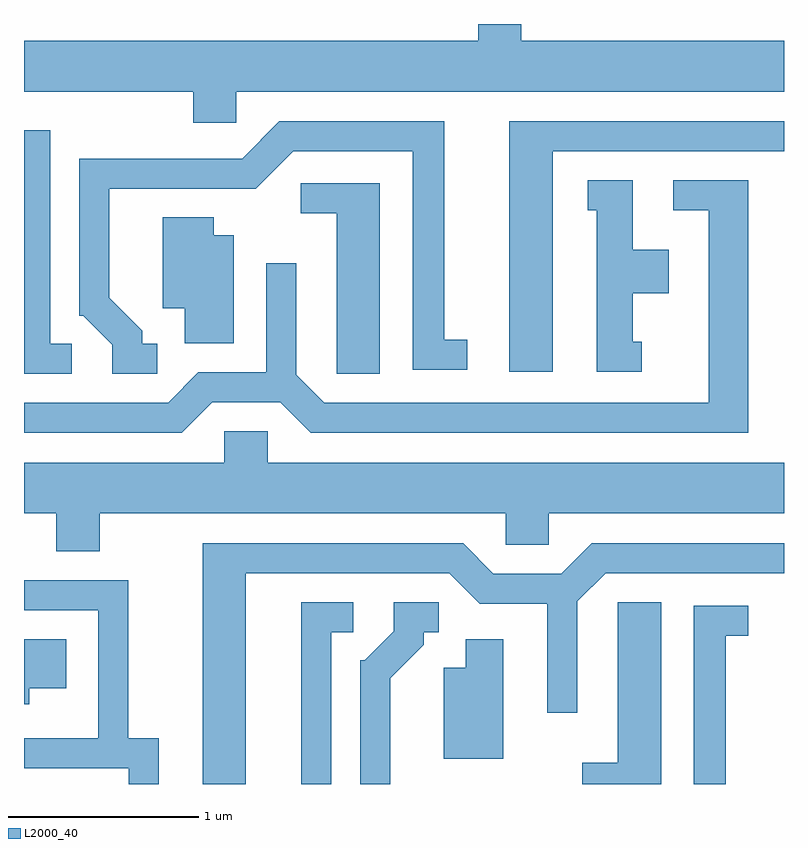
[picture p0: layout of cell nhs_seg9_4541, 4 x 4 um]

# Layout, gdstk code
import gdstk
lib = gdstk.Library(unit=1e-6, precision=1e-09)
def P(c, l, *ps):  # polygons
    for p in ps: c.add(gdstk.Polygon(p, *l))
L2000_40 = (2000, 40)

nhs_seg9_4541 = lib.new_cell('nhs_seg9_4541')
P(nhs_seg9_4541, L2000_40, [(320.729,1954.076),(323.611,1954.076),(323.611,1954.344),(322.229,1954.344),(322.229,1954.432),(322.001,1954.432),(322.001,1954.344),(319.611,1954.344),(319.611,1954.076),(320.501,1954.076),(320.501,1953.911),(320.729,1953.911)],
  [(322.394,1953.761),(323.611,1953.761),(323.611,1953.919),(322.166,1953.919),(322.166,1952.601),(322.394,1952.601)],
  [(320.313,1952.749),(320.234,1952.749),(320.234,1952.817),(320.059,1952.992),(320.059,1953.566),(320.832,1953.566),(321.027,1953.761),(321.656,1953.761),(321.656,1952.611),(321.943,1952.611),(321.943,1952.769),(321.824,1952.769),(321.824,1953.919),(320.954,1953.919),(320.759,1953.724),(319.901,1953.724),(319.901,1952.896),(319.924,1952.896),(320.076,1952.744),(320.076,1952.591),(320.313,1952.591)],
  [(319.863,1952.749),(319.749,1952.749),(319.749,1953.874),(319.611,1953.874),(319.611,1952.591),(319.863,1952.591)],
  [(320.602,1952.441),(320.959,1952.441),(321.119,1952.281),(323.424,1952.281),(323.424,1953.609),(323.028,1953.609),(323.028,1953.451),(323.216,1953.451),(323.216,1952.439),(321.192,1952.439),(321.044,1952.587),(321.044,1953.173),(320.886,1953.173),(320.886,1952.599),(320.529,1952.599),(320.369,1952.439),(319.611,1952.439),(319.611,1952.281),(320.442,1952.281)],
  [(322.863,1952.759),(322.814,1952.759),(322.814,1953.016),(323.004,1953.016),(323.004,1953.244),(322.814,1953.244),(322.814,1953.609),(322.578,1953.609),(322.578,1953.451),(322.626,1953.451),(322.626,1952.601),(322.863,1952.601)],
  [(321.484,1953.594),(321.068,1953.594),(321.068,1953.436),(321.256,1953.436),(321.256,1952.591),(321.484,1952.591)],
  [(320.714,1953.319),(320.609,1953.319),(320.609,1953.414),(320.341,1953.414),(320.341,1952.936),(320.456,1952.936),(320.456,1952.751),(320.714,1952.751)],
  [(320.009,1951.856),(322.146,1951.856),(322.146,1951.691),(322.374,1951.691),(322.374,1951.856),(323.611,1951.856),(323.611,1952.124),(320.894,1952.124),(320.894,1952.289),(320.666,1952.289),(320.666,1952.124),(319.611,1952.124),(319.611,1951.856),(319.781,1951.856),(319.781,1951.656),(320.009,1951.656)],
  [(320.779,1951.541),(321.849,1951.541),(322.009,1951.381),(322.366,1951.381),(322.366,1950.808),(322.524,1950.808),(322.524,1951.394),(322.672,1951.541),(323.611,1951.541),(323.611,1951.699),(322.599,1951.699),(322.439,1951.539),(322.082,1951.539),(321.922,1951.699),(320.551,1951.699),(320.551,1950.432),(320.779,1950.432)],
  [(320.319,1950.674),(320.159,1950.674),(320.159,1951.504),(319.611,1951.504),(319.611,1951.346),(320.001,1951.346),(320.001,1950.674),(319.611,1950.674),(319.611,1950.516),(320.161,1950.516),(320.161,1950.432),(320.319,1950.432)],
  [(321.229,1951.231),(321.343,1951.231),(321.343,1951.389),(321.071,1951.389),(321.071,1950.432),(321.229,1950.432)],
  [(322.964,1951.389),(322.736,1951.389),(322.736,1950.544),(322.548,1950.544),(322.548,1950.432),(322.964,1950.432)],
  [(321.539,1950.989),(321.714,1951.164),(321.714,1951.231),(321.793,1951.231),(321.793,1951.389),(321.556,1951.389),(321.556,1951.237),(321.404,1951.084),(321.381,1951.084),(321.381,1950.432),(321.539,1950.432)],
  [(323.304,1951.211),(323.423,1951.211),(323.423,1951.369),(323.136,1951.369),(323.136,1950.432),(323.304,1950.432)],
  [(319.639,1950.936),(319.834,1950.936),(319.834,1951.194),(319.611,1951.194),(319.611,1950.851),(319.639,1950.851)],
  [(322.134,1951.194),(321.936,1951.194),(321.936,1951.044),(321.821,1951.044),(321.821,1950.566),(322.134,1950.566)])

lib.write_gds('nhs_seg9_4541.gds')
